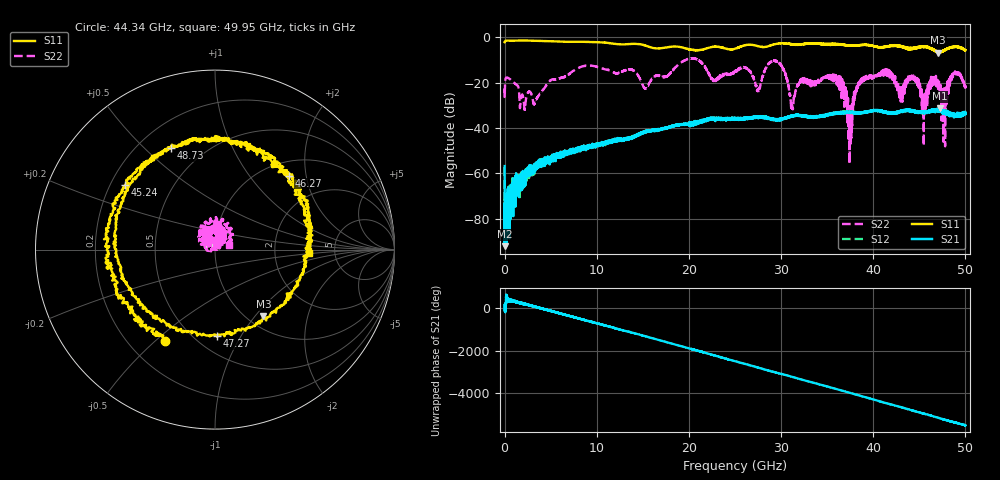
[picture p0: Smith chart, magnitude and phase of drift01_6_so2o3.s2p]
!Created with skrf (http://scikit-rf.org).
# Hz S RI R 50.0
!freq ReS11 ImS11 ReS21 ImS21 ReS12 ImS12 ReS22 ImS22
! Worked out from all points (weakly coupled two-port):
!   10001 points, 300 kHz to 50 GHz, reference 50 ohm
!   highest |S21| = -31.29 dB at 47.22 GHz (marker M1); lowest = -92.2 dB at 10.3 MHz (marker M2)
!   lowest |S11| = -6.8 dB at 47.04 GHz (marker M3), VSWR 2.70, Z = 58.7 - j55.4 ohm
!   |S11| at or under -10 dB: nowhere
!   |S22| runs from -56.1 to -9.2 dB; largest |S21 - S12| = 0.0039
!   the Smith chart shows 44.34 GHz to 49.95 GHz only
!   S11 on the Smith chart (normalised r, x): 44.34 GHz: 0.35, -0.54; 45.24 GHz: 0.26, +0.30; 46.27 GHz: 1.28, +1.60; 47.27 GHz: 0.63, -0.80; 48.73 GHz: 0.33, +0.60; 49.95 GHz: 3.20, -0.15
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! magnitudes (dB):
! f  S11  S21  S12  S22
! 300 kHz  -2.1  -56.8  -57.4  -22.5
! 10.3 MHz  -2.1  -92.2  -89.6  -25.7
! 3.29 GHz  -1.5  -58.0  -57.6  -28.9
! 8.335 GHz  -1.9  -49.6  -48.9  -12.9
! 16.67 GHz  -4.9  -40.5  -40.9  -16.7
! 25 GHz  -5.0  -36.2  -35.7  -15.5
! 29.6 GHz  -2.8  -36.1  -36.4  -10.7
! 31.23 GHz  -3.1  -34.4  -34.6  -30.9
! 33.34 GHz  -2.6  -35.3  -35.1  -20.0
! 36.22 GHz  -3.1  -33.5  -33.5  -20.5
! 37.47 GHz  -3.6  -33.3  -33.3  -42.7
! 38.68 GHz  -3.4  -33.2  -33.2  -19.9
! 41.67 GHz  -3.9  -33.1  -33.2  -15.7
! 44.34 GHz  -4.8  -32.2  -32.6  -17.4
! 45.24 GHz  -4.2  -33.3  -33.2  -23.4
! 46.27 GHz  -4.7  -32.6  -32.4  -19.0
! 47.04 GHz  -6.8  -32.5  -32.1  -22.4
! 47.22 GHz  -6.6  -31.3  -32.1  -26.2
! 47.27 GHz  -6.3  -32.5  -32.4  -23.3
! 48.73 GHz  -4.2  -34.5  -34.7  -15.7
! 49.95 GHz  -5.6  -33.6  -33.7  -21.7
! 50 GHz  -5.6  -33.8  -33.3  -21.8
